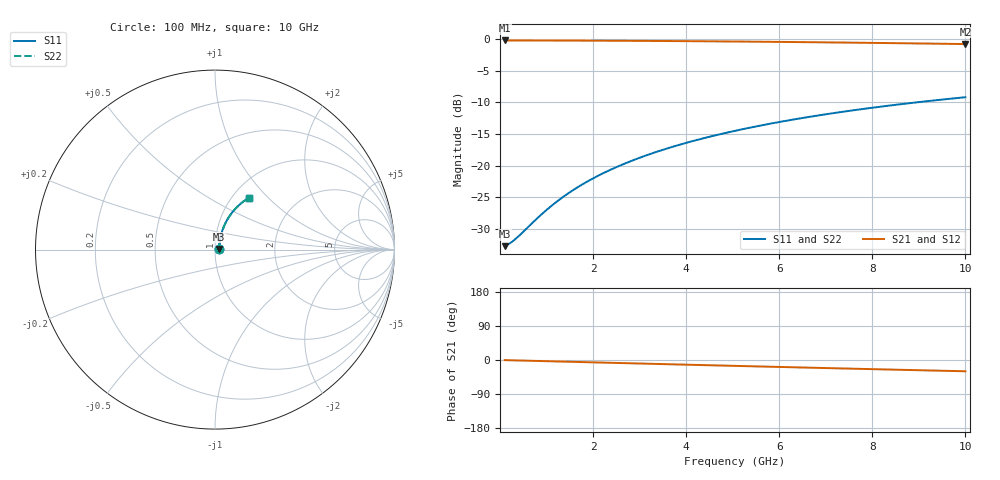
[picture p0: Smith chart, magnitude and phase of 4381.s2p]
# Hz S RI R 50.00
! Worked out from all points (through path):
!   100 points, 100 MHz to 10 GHz, reference 50 ohm
!   highest |S21| = -0.20 dB at 100 MHz (marker M1); lowest = -0.8 dB at 10 GHz (marker M2)
!   group delay of S21, straight-line fit = 8.28 ps
!   lowest |S11| = -32.8 dB at 100 MHz (marker M3), VSWR 1.05, Z = 52.3 + j0.384 ohm
!   |S11| at or under -10 dB: start of sweep to 8.951 GHz
!   |S22| runs from -32.8 to -9.2 dB; largest |S21 - S12| = 0
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1e8  0.0227 0.00367  0.9773 -0.0053  0.9773 -0.0053  0.0227 0.00367
2e8  0.0229 0.00734  0.9771 -0.0106  0.9771 -0.0106  0.0229 0.00734
3e8  0.0231 0.011  0.9769 -0.0159  0.9769 -0.0159  0.0231 0.011
4e8  0.0234 0.0147  0.9766 -0.0212  0.9766 -0.0212  0.0234 0.0147
9e8  0.0249 0.0329  0.9749 -0.0476  0.9749 -0.0476  0.0249 0.0329
1.2e9  0.0263 0.0438  0.9735 -0.0633  0.9735 -0.0633  0.0263 0.0438
1.5e9  0.028 0.0546  0.9716 -0.0791  0.9716 -0.0791  0.028 0.0546
1.8e9  0.0301 0.0654  0.9695 -0.0947  0.9695 -0.0947  0.0301 0.0654
2.1e9  0.0325 0.076  0.9669 -0.1102  0.9669 -0.1102  0.0325 0.076
2.5e9  0.0361 0.0901  0.963 -0.1308  0.963 -0.1308  0.0361 0.0901
2.9e9  0.0404 0.104  0.9584 -0.1512  0.9584 -0.1512  0.0404 0.104
3.4e9  0.0465 0.1209  0.9519 -0.1763  0.9519 -0.1763  0.0465 0.1209
3.8e9  0.0521 0.1342  0.9459 -0.1961  0.9459 -0.1961  0.0521 0.1342
4.2e9  0.0581 0.1472  0.9394 -0.2156  0.9394 -0.2156  0.0581 0.1472
4.6e9  0.0647 0.1598  0.9324 -0.2348  0.9324 -0.2348  0.0647 0.1598
5.1e9  0.0736 0.1751  0.9228 -0.2583  0.9228 -0.2583  0.0736 0.1751
5.9e9  0.0893 0.1984  0.9059 -0.2947  0.9059 -0.2947  0.0893 0.1984
6.7e9  0.1067 0.22  0.8871 -0.3295  0.8871 -0.3295  0.1067 0.22
7.5e9  0.1255 0.2399  0.8667 -0.3625  0.8667 -0.3625  0.1255 0.2399
8.4e9  0.1482 0.26  0.8421 -0.3975  0.8421 -0.3975  0.1482 0.26
9.2e9  0.1695 0.2759  0.8189 -0.4266  0.8189 -0.4266  0.1695 0.2759
1e10  0.1915 0.2898  0.7947 -0.4539  0.7947 -0.4539  0.1915 0.2898
